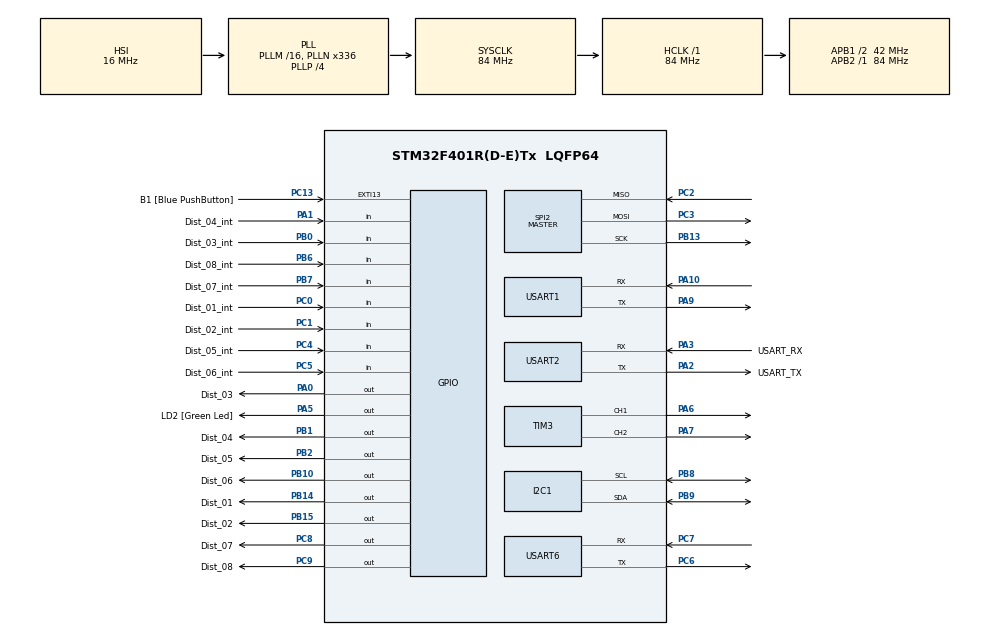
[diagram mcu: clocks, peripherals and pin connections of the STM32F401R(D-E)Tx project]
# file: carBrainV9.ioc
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Dma.Request0=USART2_RX
Dma.Request1=USART2_TX
Dma.USART2_RX.0.Direction=DMA_PERIPH_TO_MEMORY
Dma.USART2_RX.0.FIFOMode=DMA_FIFOMODE_DISABLE
Dma.USART2_RX.0.Instance=DMA1_Stream5
Dma.USART2_RX.0.MemDataAlignment=DMA_MDATAALIGN_BYTE
Dma.USART2_RX.0.MemInc=DMA_MINC_ENABLE
Dma.USART2_RX.0.Mode=DMA_NORMAL
Dma.USART2_RX.0.PeriphDataAlignment=DMA_PDATAALIGN_BYTE
Dma.USART2_RX.0.PeriphInc=DMA_PINC_DISABLE
Dma.USART2_RX.0.Priority=DMA_PRIORITY_LOW
Dma.USART2_TX.1.Direction=DMA_MEMORY_TO_PERIPH
Dma.USART2_TX.1.FIFOMode=DMA_FIFOMODE_ENABLE
Dma.USART2_TX.1.FIFOThreshold=DMA_FIFO_THRESHOLD_FULL
Dma.USART2_TX.1.Instance=DMA1_Stream6
Dma.USART2_TX.1.MemBurst=DMA_MBURST_SINGLE
Dma.USART2_TX.1.MemDataAlignment=DMA_MDATAALIGN_BYTE
Dma.USART2_TX.1.MemInc=DMA_MINC_ENABLE
Dma.USART2_TX.1.Mode=DMA_NORMAL
Dma.USART2_TX.1.PeriphBurst=DMA_PBURST_SINGLE
Dma.USART2_TX.1.PeriphDataAlignment=DMA_PDATAALIGN_BYTE
Dma.USART2_TX.1.PeriphInc=DMA_PINC_DISABLE
Dma.USART2_TX.1.Priority=DMA_PRIORITY_LOW
FREERTOS.Tasks01=defaultTask,24,128,StartDefaultTask,Default,NULL,Dynamic,NULL,NULL;driverTask,8,128,StartDriverTask,Default,NULL,Static,driverTaskBuffer,driverTaskControlBlock;pid,40,128,StartPidTask,Default,NULL,Static,pidBuffer,pidControlBlock
I2C1.I2C_Mode=I2C_Fast
Mcu.Family=STM32F4
Mcu.Name=STM32F401R(D-E)Tx
Mcu.Package=LQFP64
NVIC.DMA1_Stream5_IRQn=true\:5\:0\:false\:false\:true\:true\:false\:true
NVIC.DMA1_Stream6_IRQn=true\:5\:0\:false\:false\:true\:true\:false\:true
NVIC.PriorityGroup=NVIC_PRIORITYGROUP_4
NVIC.USART2_IRQn=true\:5\:0\:false\:false\:true\:true\:true\:true
PA0-WKUP.GPIO_Label=Dist_03
PA0-WKUP.Signal=GPIO_Output
PA1.GPIO_Label=Dist_04_int
PA1.GPIO_PuPd=GPIO_PULLUP
PA1.Signal=GPIO_Input
PA10.Mode=Asynchronous
PA10.Signal=USART1_RX
PA13.GPIO_Label=TMS
PA13.Mode=Serial_Wire
PA13.Signal=SYS_JTMS-SWDIO
PA14.GPIO_Label=TCK
PA14.Mode=Serial_Wire
PA14.Signal=SYS_JTCK-SWCLK
PA2.GPIO_Label=USART_TX
PA2.GPIO_Mode=GPIO_MODE_AF_PP
PA2.GPIO_PuPd=GPIO_NOPULL
PA2.GPIO_Speed=GPIO_SPEED_FREQ_LOW
PA2.Mode=Asynchronous
PA2.Signal=USART2_TX
PA3.GPIO_Label=USART_RX
PA3.GPIO_Mode=GPIO_MODE_AF_PP
PA3.GPIO_PuPd=GPIO_NOPULL
PA3.GPIO_Speed=GPIO_SPEED_FREQ_LOW
PA3.Mode=Asynchronous
PA3.Signal=USART2_RX
PA5.GPIO_Label=LD2 [Green Led]
PA5.GPIO_Mode=GPIO_MODE_OUTPUT_PP
PA5.GPIO_PuPd=GPIO_NOPULL
PA5.GPIO_Speed=GPIO_SPEED_FREQ_LOW
PA5.Signal=GPIO_Output
PA6.Signal=S_TIM3_CH1
PA7.Signal=S_TIM3_CH2
PA9.Mode=Asynchronous
PA9.Signal=USART1_TX
PB0.GPIO_Label=Dist_03_int
PB0.GPIO_PuPd=GPIO_PULLUP
PB0.Signal=GPIO_Input
PB1.GPIO_Label=Dist_04
PB1.Signal=GPIO_Output
PB10.GPIO_Label=Dist_06
PB10.Signal=GPIO_Output
PB13.Mode=Full_Duplex_Master
PB13.Signal=SPI2_SCK
PB14.GPIO_Label=Dist_01
PB14.Signal=GPIO_Output
PB15.GPIO_Label=Dist_02
PB15.Signal=GPIO_Output
PB2.GPIO_Label=Dist_05
PB2.Signal=GPIO_Output
PB3.GPIO_Label=SWO
PB3.Signal=SYS_JTDO-SWO
PB6.GPIO_Label=Dist_08_int
PB6.GPIO_PuPd=GPIO_PULLUP
PB6.Signal=GPIO_Input
PB7.GPIO_Label=Dist_07_int
PB7.GPIO_PuPd=GPIO_PULLUP
PB7.Signal=GPIO_Input
PB8.Mode=I2C
PB8.Signal=I2C1_SCL
PB9.Mode=I2C
PB9.Signal=I2C1_SDA
PC0.GPIO_Label=Dist_01_int
PC0.GPIO_PuPd=GPIO_PULLUP
PC0.Signal=GPIO_Input
PC1.GPIO_Label=Dist_02_int
PC1.GPIO_PuPd=GPIO_PULLUP
PC1.Signal=GPIO_Input
PC13-ANTI_TAMP.GPIO_Label=B1 [Blue PushButton]
PC13-ANTI_TAMP.GPIO_ModeDefaultEXTI=GPIO_MODE_IT_FALLING
PC13-ANTI_TAMP.GPIO_PuPd=GPIO_NOPULL
PC13-ANTI_TAMP.Signal=GPXTI13
PC14-OSC32_IN.Mode=LSE-External-Oscillator
PC14-OSC32_IN.Signal=RCC_OSC32_IN
PC15-OSC32_OUT.Mode=LSE-External-Oscillator
PC15-OSC32_OUT.Signal=RCC_OSC32_OUT
PC2.Mode=Full_Duplex_Master
PC2.Signal=SPI2_MISO
PC3.Mode=Full_Duplex_Master
PC3.Signal=SPI2_MOSI
PC4.GPIO_Label=Dist_05_int
PC4.GPIO_PuPd=GPIO_PULLUP
PC4.Signal=GPIO_Input
PC5.GPIO_Label=Dist_06_int
PC5.GPIO_PuPd=GPIO_PULLUP
PC5.Signal=GPIO_Input
PC6.Mode=IrDA
PC6.Signal=USART6_TX
PC7.Mode=IrDA
PC7.Signal=USART6_RX
PC8.GPIO_Label=Dist_07
PC8.Signal=GPIO_Output
PC9.GPIO_Label=Dist_08
PC9.Signal=GPIO_Output
PH0\ -\ OSC_IN.Mode=HSE-External-Clock-Source
PH0\ -\ OSC_IN.Signal=RCC_OSC_IN
PH1\ -\ OSC_OUT.Mode=HSE-External-Clock-Source
PH1\ -\ OSC_OUT.Signal=RCC_OSC_OUT
ProjectManager.HeapSize=0x200
ProjectManager.StackSize=0x400
ProjectManager.TargetToolchain=TrueSTUDIO
RCC.48MHZClocksFreq_Value=48000000
RCC.AHBFreq_Value=84000000
RCC.APB1CLKDivider=RCC_HCLK_DIV2
RCC.APB1Freq_Value=42000000
RCC.APB1TimFreq_Value=84000000
RCC.APB2Freq_Value=84000000
RCC.APB2TimFreq_Value=84000000
RCC.CortexFreq_Value=84000000
RCC.HCLKFreq_Value=84000000
RCC.HSE_VALUE=8000000
RCC.HSI_VALUE=16000000
RCC.PLLN=336
RCC.PLLP=RCC_PLLP_DIV4
RCC.PLLQ=7
RCC.SYSCLKFreq_VALUE=84000000
RCC.SYSCLKSource=RCC_SYSCLKSOURCE_PLLCLK
RCC.VCOOutputFreq_Value=336000000
SH.S_TIM3_CH1.0=TIM3_CH1,PWM Generation1 CH1
SH.S_TIM3_CH2.0=TIM3_CH2,PWM Generation2 CH2
SPI2.CRCCalculation=SPI_CRCCALCULATION_ENABLE
SPI2.Direction=SPI_DIRECTION_2LINES
SPI2.Mode=SPI_MODE_MASTER
SPI2.VirtualType=VM_MASTER
TIM2.Channel-Output\ Compare1\ No\ Output=TIM_CHANNEL_1
TIM3.Channel-PWM\ Generation1\ CH1=TIM_CHANNEL_1
TIM3.Channel-PWM\ Generation2\ CH2=TIM_CHANNEL_2
TIM5.Channel-Output\ Compare1\ No\ Output=TIM_CHANNEL_1
USART1.VirtualMode=VM_ASYNC
USART2.VirtualMode=VM_ASYNC
USART6.VirtualMode=VM_IRDA
VP_CRC_VS_CRC.Mode=CRC_Activate
VP_FREERTOS_VS_CMSIS_V2.Mode=CMSIS_V2
VP_TIM2_VS_no_output1.Mode=Output Compare1 No Output
VP_TIM5_VS_no_output1.Mode=Output Compare1 No Output
board=NUCLEO-F401RE

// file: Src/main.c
/* USER CODE BEGIN Header */
/**
 ******************************************************************************
 * @file           : main.c
 * @brief          : Main program body
 ******************************************************************************
 * @attention
 *
 * <h2><center>&copy; Copyright (c) 2019 STMicroelectronics.
 * All rights reserved.</center></h2>
 *
 * This software component is licensed by ST under Ultimate Liberty license
 * SLA0044, the "License"; You may not use this file except in compliance with
 * the License. You may obtain a copy of the License at:
 *                             www.st.com/SLA0044
 *
 ******************************************************************************
 */
/* USER CODE END Header */

#include "main.h"
#include "cmsis_os.h"

/* USER CODE BEGIN Includes */
#include "PID.h"
/* USER CODE END Includes */

CRC_HandleTypeDef hcrc;

I2C_HandleTypeDef hi2c1;

SPI_HandleTypeDef hspi2;

TIM_HandleTypeDef htim2;
TIM_HandleTypeDef htim3;
TIM_HandleTypeDef htim5;

UART_HandleTypeDef huart1;
UART_HandleTypeDef huart2;
IRDA_HandleTypeDef hirda6;
DMA_HandleTypeDef hdma_usart2_rx;
DMA_HandleTypeDef hdma_usart2_tx;

typedef StaticTask_t osStaticThreadDef_t;
osThreadId_t defaultTaskHandle;
osThreadId_t driverTaskHandle;
uint32_t driverTaskBuffer[ 128 ];
osStaticThreadDef_t driverTaskControlBlock;
osThreadId_t pidHandle;
uint32_t pidBuffer[ 128 ];
osStaticThreadDef_t pidControlBlock;
/* USER CODE BEGIN PV */
uint32_t lastrun = 0;
// PID Variables
float in, out, set = 100;
// PID controllers
struct pid_controller pidctrl;
pid_t pid = 0;
/* USER CODE END PV */

void SystemClock_Config(void);
static void MX_GPIO_Init(void);
static void MX_DMA_Init(void);
static void MX_I2C1_Init(void);
static void MX_USART1_UART_Init(void);
static void MX_USART2_UART_Init(void);
static void MX_USART6_IRDA_Init(void);
static void MX_TIM2_Init(void);
static void MX_TIM5_Init(void);
static void MX_CRC_Init(void);
static void MX_SPI2_Init(void);
static void MX_TIM3_Init(void);
void StartDefaultTask(void *argument); // for v2
void StartDriverTask(void *argument); // for v2
void StartPidTask(void *argument); // for v2

/* USER CODE BEGIN PFP */
volatile TickType_t xTaskGetTickCount( void );
/* USER CODE END PFP */

int main(void)
{

  /* MCU Configuration--------------------------------------------------------*/

  /* Reset of all peripherals, Initializes the Flash interface and the Systick. */
  HAL_Init();

  /* Configure the system clock */
  SystemClock_Config();

  /* Initialize all configured peripherals */
  MX_GPIO_Init();
  MX_DMA_Init();
  MX_I2C1_Init();
  MX_USART1_UART_Init();
  MX_USART2_UART_Init();
  MX_USART6_IRDA_Init();
  MX_TIM2_Init();
  MX_TIM5_Init();
  MX_CRC_Init();
  MX_SPI2_Init();
  MX_TIM3_Init();
  /* USER CODE BEGIN 2 */
	sensorInit();
	// Create PID controllers, set gains
	pid = pid_create(&pidctrl, &in, &out, &set, 5, 1, 3);
	// Set output limits
	pid_limits(pid, 0, 255);
	// Turn on PID
	pid_auto(pid);

  /* USER CODE END 2 */

  osKernelInitialize(); // Initialize CMSIS-RTOS

  /* Create the thread(s) */
  /* definition and creation of defaultTask */
  const osThreadAttr_t defaultTask_attributes = {
    .name = "defaultTask",
    .priority = (osPriority_t) osPriorityNormal,
    .stack_size = 128
  };
  defaultTaskHandle = osThreadNew(StartDefaultTask, NULL, &defaultTask_attributes);

  /* definition and creation of driverTask */
  const osThreadAttr_t driverTask_attributes = {
    .name = "driverTask",
    .stack_mem = &driverTaskBuffer[0],
    .stack_size = sizeof(driverTaskBuffer),
    .cb_mem = &driverTaskControlBlock,
    .cb_size = sizeof(driverTaskControlBlock),
    .priority = (osPriority_t) osPriorityLow,
  };
  driverTaskHandle = osThreadNew(StartDriverTask, NULL, &driverTask_attributes);

  /* definition and creation of pid */
  const osThreadAttr_t pid_attributes = {
    .name = "pid",
    .stack_mem = &pidBuffer[0],
    .stack_size = sizeof(pidBuffer),
    .cb_mem = &pidControlBlock,
    .cb_size = sizeof(pidControlBlock),
    .priority = (osPriority_t) osPriorityHigh,
  };
  pidHandle = osThreadNew(StartPidTask, NULL, &pid_attributes);

  /* Start scheduler */
  osKernelStart();

  /* We should never get here as control is now taken by the scheduler */

  /* Infinite loop */
	while (1)
	{

	}
}

void SystemClock_Config(void)
{
  RCC_OscInitTypeDef RCC_OscInitStruct = {0};
  RCC_ClkInitTypeDef RCC_ClkInitStruct = {0};

  /** Configure the main internal regulator output voltage
  */
  __HAL_RCC_PWR_CLK_ENABLE();
  __HAL_PWR_VOLTAGESCALING_CONFIG(PWR_REGULATOR_VOLTAGE_SCALE2);
  /** Initializes the CPU, AHB and APB busses clocks
  */
  RCC_OscInitStruct.OscillatorType = RCC_OSCILLATORTYPE_HSI;
  RCC_OscInitStruct.HSIState = RCC_HSI_ON;
  RCC_OscInitStruct.HSICalibrationValue = RCC_HSICALIBRATION_DEFAULT;
  RCC_OscInitStruct.PLL.PLLState = RCC_PLL_ON;
  RCC_OscInitStruct.PLL.PLLSource = RCC_PLLSOURCE_HSI;
  RCC_OscInitStruct.PLL.PLLM = 16;
  RCC_OscInitStruct.PLL.PLLN = 336;
  RCC_OscInitStruct.PLL.PLLP = RCC_PLLP_DIV4;
  RCC_OscInitStruct.PLL.PLLQ = 7;
  if (HAL_RCC_OscConfig(&RCC_OscInitStruct) != HAL_OK)
  {
    Error_Handler();
  }
  /** Initializes the CPU, AHB and APB busses clocks
  */
  RCC_ClkInitStruct.ClockType = RCC_CLOCKTYPE_HCLK|RCC_CLOCKTYPE_SYSCLK
                              |RCC_CLOCKTYPE_PCLK1|RCC_CLOCKTYPE_PCLK2;
  RCC_ClkInitStruct.SYSCLKSource = RCC_SYSCLKSOURCE_PLLCLK;
  RCC_ClkInitStruct.AHBCLKDivider = RCC_SYSCLK_DIV1;
  RCC_ClkInitStruct.APB1CLKDivider = RCC_HCLK_DIV2;
  RCC_ClkInitStruct.APB2CLKDivider = RCC_HCLK_DIV1;

  if (HAL_RCC_ClockConfig(&RCC_ClkInitStruct, FLASH_LATENCY_2) != HAL_OK)
  {
    Error_Handler();
  }
}

static void MX_CRC_Init(void)
{

  hcrc.Instance = CRC;
  if (HAL_CRC_Init(&hcrc) != HAL_OK)
  {
    Error_Handler();
  }

}

static void MX_I2C1_Init(void)
{

  hi2c1.Instance = I2C1;
  hi2c1.Init.ClockSpeed = 400000;
  hi2c1.Init.DutyCycle = I2C_DUTYCYCLE_2;
  hi2c1.Init.OwnAddress1 = 0;
  hi2c1.Init.AddressingMode = I2C_ADDRESSINGMODE_7BIT;
  hi2c1.Init.DualAddressMode = I2C_DUALADDRESS_DISABLE;
  hi2c1.Init.OwnAddress2 = 0;
  hi2c1.Init.GeneralCallMode = I2C_GENERALCALL_DISABLE;
  hi2c1.Init.NoStretchMode = I2C_NOSTRETCH_DISABLE;
  if (HAL_I2C_Init(&hi2c1) != HAL_OK)
  {
    Error_Handler();
  }

}

static void MX_SPI2_Init(void)
{

  /* SPI2 parameter configuration*/
  hspi2.Instance = SPI2;
  hspi2.Init.Mode = SPI_MODE_MASTER;
  hspi2.Init.Direction = SPI_DIRECTION_2LINES;
  hspi2.Init.DataSize = SPI_DATASIZE_8BIT;
  hspi2.Init.CLKPolarity = SPI_POLARITY_LOW;
  hspi2.Init.CLKPhase = SPI_PHASE_1EDGE;
  hspi2.Init.NSS = SPI_NSS_SOFT;
  hspi2.Init.BaudRatePrescaler = SPI_BAUDRATEPRESCALER_2;
  hspi2.Init.FirstBit = SPI_FIRSTBIT_MSB;
  hspi2.Init.TIMode = SPI_TIMODE_DISABLE;
  hspi2.Init.CRCCalculation = SPI_CRCCALCULATION_ENABLE;
  hspi2.Init.CRCPolynomial = 10;
  if (HAL_SPI_Init(&hspi2) != HAL_OK)
  {
    Error_Handler();
  }

}

static void MX_TIM2_Init(void)
{

  TIM_MasterConfigTypeDef sMasterConfig = {0};
  TIM_OC_InitTypeDef sConfigOC = {0};

  htim2.Instance = TIM2;
  htim2.Init.Prescaler = 0;
  htim2.Init.CounterMode = TIM_COUNTERMODE_UP;
  htim2.Init.Period = 0;
  htim2.Init.ClockDivision = TIM_CLOCKDIVISION_DIV1;
  htim2.Init.AutoReloadPreload = TIM_AUTORELOAD_PRELOAD_DISABLE;
  if (HAL_TIM_OC_Init(&htim2) != HAL_OK)
  {
    Error_Handler();
  }
  sMasterConfig.MasterOutputTrigger = TIM_TRGO_RESET;
  sMasterConfig.MasterSlaveMode = TIM_MASTERSLAVEMODE_DISABLE;
  if (HAL_TIMEx_MasterConfigSynchronization(&htim2, &sMasterConfig) != HAL_OK)
  {
    Error_Handler();
  }
  sConfigOC.OCMode = TIM_OCMODE_TIMING;
  sConfigOC.Pulse = 0;
  sConfigOC.OCPolarity = TIM_OCPOLARITY_HIGH;
  sConfigOC.OCFastMode = TIM_OCFAST_DISABLE;
  if (HAL_TIM_OC_ConfigChannel(&htim2, &sConfigOC, TIM_CHANNEL_1) != HAL_OK)
  {
    Error_Handler();
  }

}

static void MX_TIM3_Init(void)
{

  TIM_MasterConfigTypeDef sMasterConfig = {0};
  TIM_OC_InitTypeDef sConfigOC = {0};

  htim3.Instance = TIM3;
  htim3.Init.Prescaler = 0;
  htim3.Init.CounterMode = TIM_COUNTERMODE_UP;
  htim3.Init.Period = 0;
  htim3.Init.ClockDivision = TIM_CLOCKDIVISION_DIV1;
  htim3.Init.AutoReloadPreload = TIM_AUTORELOAD_PRELOAD_DISABLE;
  if (HAL_TIM_PWM_Init(&htim3) != HAL_OK)
  {
    Error_Handler();
  }
  sMasterConfig.MasterOutputTrigger = TIM_TRGO_RESET;
  sMasterConfig.MasterSlaveMode = TIM_MASTERSLAVEMODE_DISABLE;
  if (HAL_TIMEx_MasterConfigSynchronization(&htim3, &sMasterConfig) != HAL_OK)
  {
    Error_Handler();
  }
  sConfigOC.OCMode = TIM_OCMODE_PWM1;
  sConfigOC.Pulse = 0;
  sConfigOC.OCPolarity = TIM_OCPOLARITY_HIGH;
  sConfigOC.OCFastMode = TIM_OCFAST_DISABLE;
  if (HAL_TIM_PWM_ConfigChannel(&htim3, &sConfigOC, TIM_CHANNEL_1) != HAL_OK)
  {
    Error_Handler();
  }
  if (HAL_TIM_PWM_ConfigChannel(&htim3, &sConfigOC, TIM_CHANNEL_2) != HAL_OK)
  {
    Error_Handler();
  }
  HAL_TIM_MspPostInit(&htim3);

}

static void MX_TIM5_Init(void)
{

  TIM_MasterConfigTypeDef sMasterConfig = {0};
  TIM_OC_InitTypeDef sConfigOC = {0};

  htim5.Instance = TIM5;
  htim5.Init.Prescaler = 0;
  htim5.Init.CounterMode = TIM_COUNTERMODE_UP;
  htim5.Init.Period = 0;
  htim5.Init.ClockDivision = TIM_CLOCKDIVISION_DIV1;
  htim5.Init.AutoReloadPreload = TIM_AUTORELOAD_PRELOAD_DISABLE;
  if (HAL_TIM_OC_Init(&htim5) != HAL_OK)
  {
    Error_Handler();
  }
  sMasterConfig.MasterOutputTrigger = TIM_TRGO_RESET;
  sMasterConfig.MasterSlaveMode = TIM_MASTERSLAVEMODE_DISABLE;
  if (HAL_TIMEx_MasterConfigSynchronization(&htim5, &sMasterConfig) != HAL_OK)
  {
    Error_Handler();
  }
  sConfigOC.OCMode = TIM_OCMODE_TIMING;
  sConfigOC.Pulse = 0;
  sConfigOC.OCPolarity = TIM_OCPOLARITY_HIGH;
  sConfigOC.OCFastMode = TIM_OCFAST_DISABLE;
  if (HAL_TIM_OC_ConfigChannel(&htim5, &sConfigOC, TIM_CHANNEL_1) != HAL_OK)
  {
    Error_Handler();
  }

}

static void MX_USART1_UART_Init(void)
{

  huart1.Instance = USART1;
  huart1.Init.BaudRate = 115200;
  huart1.Init.WordLength = UART_WORDLENGTH_8B;
  huart1.Init.StopBits = UART_STOPBITS_1;
  huart1.Init.Parity = UART_PARITY_NONE;
  huart1.Init.Mode = UART_MODE_TX_RX;
  huart1.Init.HwFlowCtl = UART_HWCONTROL_NONE;
  huart1.Init.OverSampling = UART_OVERSAMPLING_16;
  if (HAL_UART_Init(&huart1) != HAL_OK)
  {
    Error_Handler();
  }

}

static void MX_USART2_UART_Init(void)
{

  huart2.Instance = USART2;
  huart2.Init.BaudRate = 115200;
  huart2.Init.WordLength = UART_WORDLENGTH_8B;
  huart2.Init.StopBits = UART_STOPBITS_1;
  huart2.Init.Parity = UART_PARITY_NONE;
  huart2.Init.Mode = UART_MODE_TX_RX;
  huart2.Init.HwFlowCtl = UART_HWCONTROL_NONE;
  huart2.Init.OverSampling = UART_OVERSAMPLING_16;
  if (HAL_UART_Init(&huart2) != HAL_OK)
  {
    Error_Handler();
  }

}

static void MX_USART6_IRDA_Init(void)
{

  hirda6.Instance = USART6;
  hirda6.Init.BaudRate = 115200;
  hirda6.Init.WordLength = IRDA_WORDLENGTH_8B;
  hirda6.Init.Parity = IRDA_PARITY_NONE;
  hirda6.Init.Mode = IRDA_MODE_TX_RX;
  hirda6.Init.Prescaler = 1;
  hirda6.Init.IrDAMode = IRDA_POWERMODE_NORMAL;
  if (HAL_IRDA_Init(&hirda6) != HAL_OK)
  {
    Error_Handler();
  }

}

static void MX_DMA_Init(void)
{
  /* DMA controller clock enable */
  __HAL_RCC_DMA1_CLK_ENABLE();

  /* DMA interrupt init */
  /* DMA1_Stream5_IRQn interrupt configuration */
  HAL_NVIC_SetPriority(DMA1_Stream5_IRQn, 5, 0);
  HAL_NVIC_EnableIRQ(DMA1_Stream5_IRQn);
  /* DMA1_Stream6_IRQn interrupt configuration */
  HAL_NVIC_SetPriority(DMA1_Stream6_IRQn, 5, 0);
  HAL_NVIC_EnableIRQ(DMA1_Stream6_IRQn);

}

static void MX_GPIO_Init(void)
{
  GPIO_InitTypeDef GPIO_InitStruct = {0};

  /* GPIO Ports Clock Enable */
  __HAL_RCC_GPIOC_CLK_ENABLE();
  __HAL_RCC_GPIOH_CLK_ENABLE();
  __HAL_RCC_GPIOA_CLK_ENABLE();
  __HAL_RCC_GPIOB_CLK_ENABLE();

  /*Configure GPIO pin Output Level */
  HAL_GPIO_WritePin(GPIOA, Dist_03_Pin|LD2_Pin, GPIO_PIN_RESET);

  /*Configure GPIO pin Output Level */
  HAL_GPIO_WritePin(GPIOB, Dist_04_Pin|Dist_05_Pin|Dist_06_Pin|Dist_01_Pin
                          |Dist_02_Pin, GPIO_PIN_RESET);

  /*Configure GPIO pin Output Level */
  HAL_GPIO_WritePin(GPIOC, Dist_07_Pin|Dist_08_Pin, GPIO_PIN_RESET);

  /*Configure GPIO pin : B1_Pin */
  GPIO_InitStruct.Pin = B1_Pin;
  GPIO_InitStruct.Mode = GPIO_MODE_IT_FALLING;
  GPIO_InitStruct.Pull = GPIO_NOPULL;
  HAL_GPIO_Init(B1_GPIO_Port, &GPIO_InitStruct);

  /*Configure GPIO pins : Dist_01_int_Pin Dist_02_int_Pin Dist_05_int_Pin Dist_06_int_Pin */
  GPIO_InitStruct.Pin = Dist_01_int_Pin|Dist_02_int_Pin|Dist_05_int_Pin|Dist_06_int_Pin;
  GPIO_InitStruct.Mode = GPIO_MODE_INPUT;
  GPIO_InitStruct.Pull = GPIO_PULLUP;
  HAL_GPIO_Init(GPIOC, &GPIO_InitStruct);

  /*Configure GPIO pins : Dist_03_Pin LD2_Pin */
  GPIO_InitStruct.Pin = Dist_03_Pin|LD2_Pin;
  GPIO_InitStruct.Mode = GPIO_MODE_OUTPUT_PP;
  GPIO_InitStruct.Pull = GPIO_NOPULL;
  GPIO_InitStruct.Speed = GPIO_SPEED_FREQ_LOW;
  HAL_GPIO_Init(GPIOA, &GPIO_InitStruct);

  /*Configure GPIO pin : Dist_04_int_Pin */
  GPIO_InitStruct.Pin = Dist_04_int_Pin;
  GPIO_InitStruct.Mode = GPIO_MODE_INPUT;
  GPIO_InitStruct.Pull = GPIO_PULLUP;
  HAL_GPIO_Init(Dist_04_int_GPIO_Port, &GPIO_InitStruct);

  /*Configure GPIO pins : Dist_03_int_Pin Dist_08_int_Pin Dist_07_int_Pin */
  GPIO_InitStruct.Pin = Dist_03_int_Pin|Dist_08_int_Pin|Dist_07_int_Pin;
  GPIO_InitStruct.Mode = GPIO_MODE_INPUT;
  GPIO_InitStruct.Pull = GPIO_PULLUP;
  HAL_GPIO_Init(GPIOB, &GPIO_InitStruct);

  /*Configure GPIO pins : Dist_04_Pin Dist_05_Pin Dist_06_Pin Dist_01_Pin
                           Dist_02_Pin */
  GPIO_InitStruct.Pin = Dist_04_Pin|Dist_05_Pin|Dist_06_Pin|Dist_01_Pin
                          |Dist_02_Pin;
  GPIO_InitStruct.Mode = GPIO_MODE_OUTPUT_PP;
  GPIO_InitStruct.Pull = GPIO_NOPULL;
  GPIO_InitStruct.Speed = GPIO_SPEED_FREQ_LOW;
  HAL_GPIO_Init(GPIOB, &GPIO_InitStruct);

  /*Configure GPIO pins : Dist_07_Pin Dist_08_Pin */
  GPIO_InitStruct.Pin = Dist_07_Pin|Dist_08_Pin;
  GPIO_InitStruct.Mode = GPIO_MODE_OUTPUT_PP;
  GPIO_InitStruct.Pull = GPIO_NOPULL;
  GPIO_InitStruct.Speed = GPIO_SPEED_FREQ_LOW;
  HAL_GPIO_Init(GPIOC, &GPIO_InitStruct);

}

void StartDefaultTask(void *argument)
{

	for(;;)
	{
		osDelay(1);
	}
}

void StartDriverTask(void *argument)
{
	for(;;)
	{
		osDelay(1);
	}
}

void StartPidTask(void *argument)
{
  /* USER CODE BEGIN StartPidTask */
	uint8_t i = 0;
	uint8_t status = 0;
	/* Infinite loop */
	for(;;)
	{
		//	  status = ReadOneSensorRange(3);
		i = i+1;
		if (i >= MAX_SENSORS ){
			i = 0;
		}

		lastrun = xTaskGetTickCount();
		// Read inputs
		in = 100;
		// Compute PID controllers
		pid_compute(pid);
		// Adjust actuator
		// set_out(output);

		osDelay(300);
	}
  /* USER CODE END StartPidTask */
}

void Error_Handler(void)
{
}

/************************ (C) COPYRIGHT STMicroelectronics *****END OF FILE****/
